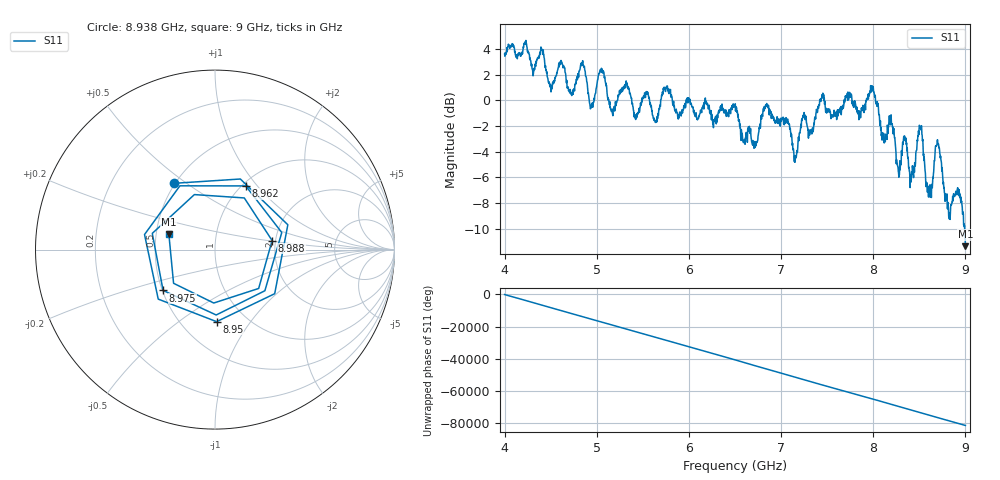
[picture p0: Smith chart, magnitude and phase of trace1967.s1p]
! Created with skrf 1.8.0 (http://scikit-rf.org).
# Hz S RI R 50.0
!freq ReS11 ImS11
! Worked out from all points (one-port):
!   1601 points, 4 GHz to 9 GHz, reference 50 ohm
!   lowest |S11| = -11.3 dB at 9 GHz (marker M1), VSWR 1.74, Z = 29.2 + j5.37 ohm
!   |S11| at or under -10 dB: 8.991983 GHz to end of sweep
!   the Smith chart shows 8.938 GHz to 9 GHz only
!   S11 on the Smith chart (normalised r, x): 8.938 GHz: 0.49, +0.45; 8.95 GHz: 0.73, -0.70; 8.962 GHz: 1.04, +0.87; 8.975 GHz: 0.50, -0.27; 8.988 GHz: 1.92, +0.22; 9 GHz: 0.58, +0.11
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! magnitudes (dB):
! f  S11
! 4 GHz  3.6
! 4.625 GHz  2.8
! 4.719 GHz  0.5
! 4.85 GHz  2.9
! 4.944 GHz  -0.3
! 5.047 GHz  2.2
! 5.159 GHz  -0.9
! 5.25 GHz  0.5
! 5.875 GHz  -1.0
! 6.5 GHz  -0.3
! 6.588 GHz  -3.1
! 6.841 GHz  -0.4
! 7.125 GHz  -3.3
! 7.75 GHz  0.4
! 7.997 GHz  0.8
! 8.275 GHz  -5.6
! 8.375 GHz  -4.5
! 8.422 GHz  -5.7
! 8.509 GHz  -2.1
! 8.606 GHz  -6.7
! 8.697 GHz  -3.1
! 8.812 GHz  -7.9
! 8.938 GHz  -7.2
! 8.95 GHz  -7.9
! 8.962 GHz  -8.1
! 8.975 GHz  -8.7
! 8.988 GHz  -9.8
! 9 GHz  -11.3
